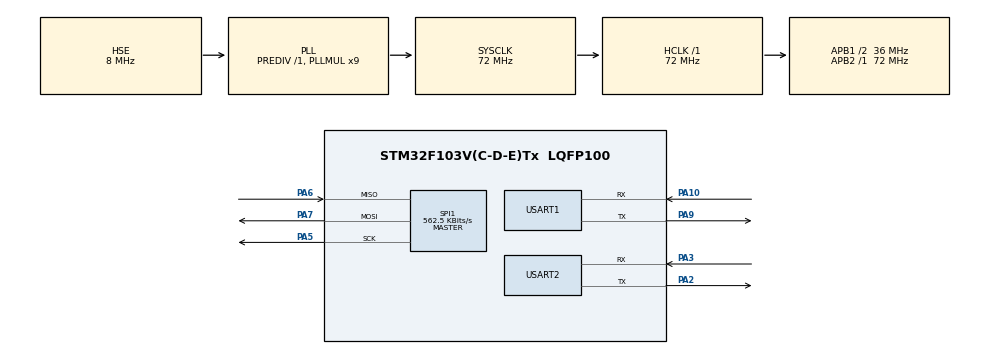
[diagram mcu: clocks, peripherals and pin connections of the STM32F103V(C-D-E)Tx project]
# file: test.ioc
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Mcu.Family=STM32F1
Mcu.Name=STM32F103V(C-D-E)Tx
Mcu.Package=LQFP100
NVIC.PriorityGroup=NVIC_PRIORITYGROUP_4
NVIC.TIM1_UP_IRQn=true\:15\:0\:false\:false\:true\:false\:false\:true\:true
NVIC.TimeBase=TIM1_UP_IRQn
NVIC.TimeBaseIP=TIM1
OSC_IN.Mode=HSE-External-Oscillator
OSC_IN.Signal=RCC_OSC_IN
OSC_OUT.Mode=HSE-External-Oscillator
OSC_OUT.Signal=RCC_OSC_OUT
PA10.Mode=Asynchronous
PA10.Signal=USART1_RX
PA13.Mode=Trace_Asynchronous_SW
PA13.Signal=SYS_JTMS-SWDIO
PA14.Mode=Trace_Asynchronous_SW
PA14.Signal=SYS_JTCK-SWCLK
PA2.Mode=Asynchronous
PA2.Signal=USART2_TX
PA3.Mode=Asynchronous
PA3.Signal=USART2_RX
PA5.Mode=Full_Duplex_Master
PA5.Signal=SPI1_SCK
PA6.Mode=Full_Duplex_Master
PA6.Signal=SPI1_MISO
PA7.Mode=Full_Duplex_Master
PA7.Signal=SPI1_MOSI
PA9.Mode=Asynchronous
PA9.Signal=USART1_TX
PB3.Mode=Trace_Asynchronous_SW
PB3.Signal=SYS_JTDO-TRACESWO
ProjectManager.HeapSize=0x200
ProjectManager.StackSize=0x400
ProjectManager.TargetToolchain=MDK-ARM V5.32
RCC.AHBFreq_Value=72000000
RCC.APB1CLKDivider=RCC_HCLK_DIV2
RCC.APB1Freq_Value=36000000
RCC.APB1TimFreq_Value=72000000
RCC.APB2Freq_Value=72000000
RCC.APB2TimFreq_Value=72000000
RCC.HCLKFreq_Value=72000000
RCC.PLLMUL=RCC_PLL_MUL9
RCC.PLLSourceVirtual=RCC_PLLSOURCE_HSE
RCC.SYSCLKFreq_VALUE=72000000
RCC.SYSCLKSource=RCC_SYSCLKSOURCE_PLLCLK
RCC.USBFreq_Value=72000000
RealThread.RT-Thread.3.1.5.RTOSJjkernel=true
SPI1.BaudRatePrescaler=SPI_BAUDRATEPRESCALER_128
SPI1.CalculateBaudRate=562.5 KBits/s
SPI1.Direction=SPI_DIRECTION_2LINES
SPI1.Mode=SPI_MODE_MASTER
SPI1.VirtualType=VM_MASTER
USART1.VirtualMode=VM_ASYNC
USART2.VirtualMode=VM_ASYNC
VP_RealThread.RT-Thread_VS_RTOSJjkernel_3.1.5_3.1.5.Mode=RTOSJjkernel
VP_SYS_VS_tim1.Mode=TIM1
board=custom

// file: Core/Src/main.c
/* USER CODE BEGIN Header */
/**
  ******************************************************************************
  * @file           : main.c
  * @brief          : Main program body
  ******************************************************************************
  * @attention
  *
  * Copyright (c) 2023 STMicroelectronics.
  * All rights reserved.
  *
  * This software is licensed under terms that can be found in the LICENSE file
  * in the root directory of this software component.
  * If no LICENSE file comes with this software, it is provided AS-IS.
  *
  ******************************************************************************
  */
/* USER CODE END Header */
#include "main.h"
#include "spi.h"
#include "usart.h"
#include "gpio.h"

/* USER CODE BEGIN Includes */
#include "rtthread.h"
#include "cpp_run_main.h"
/* USER CODE END Includes */

void SystemClock_Config(void);

/* USER CODE BEGIN 0 */

#if 0
/* USER CODE END 0 */

int main(void)
{
  /* USER CODE BEGIN 1 */
#endif
int board_init(void);
INIT_BOARD_EXPORT(board_init);
int board_init(void)
{
  /* USER CODE END 1 */

  /* MCU Configuration--------------------------------------------------------*/

  /* Reset of all peripherals, Initializes the Flash interface and the Systick. */
  HAL_Init();

  /* Configure the system clock */
  SystemClock_Config();

  /* Initialize all configured peripherals */
  MX_GPIO_Init();
  MX_USART1_UART_Init();
  MX_USART2_UART_Init();
  MX_SPI1_Init();

  /* Infinite loop */
  /* USER CODE BEGIN WHILE */
  #if 0
  while (1)
  {
    /* USER CODE END WHILE */

    /* USER CODE BEGIN 3 */
  }
  #endif
  return 0;
}

static void one_thread(void* param)
{
  rt_kprintf("%s run\r\n", __FUNCTION__);
  while(1) {
    HAL_Delay(10);
    rt_thread_mdelay(10);
  }
}

static void SoftTimerCb(void* param)
{
  static uint8_t cnt = 0;
  if(cnt < 2) {
    cnt++;
    rt_kprintf("soft timer cb\r\n");
  }
}

typedef struct
{
  int num;
  rt_list_t list;
  char* str;
} test_rt_list_t;

int main()
{
  rt_list_t list_one;
  static test_rt_list_t test = {
    .num = 10,
    .str = "test"
  };
  static test_rt_list_t test2 = {
    .num = 20,
    .str = "test2"
  };
  rt_list_init(&list_one);
  rt_list_insert_after(&list_one, &test.list);
  rt_list_insert_after(&list_one, &test2.list);
  test_rt_list_t* p_test;
  rt_list_for_each_entry(p_test, &list_one, list)
  {
    rt_kprintf("num = %d, str = %s \r\n", p_test->num, p_test->str);
  }

  rt_thread_mdelay(500);
  rt_kprintf("rt main hello!\r\n");

  rt_thread_t thread;
  thread = rt_thread_create("1", one_thread, RT_NULL, 256, 0, 10);
  rt_thread_startup(thread);

  thread = rt_thread_create("Cpp", CppRunMian, RT_NULL, 1024*5, 0, 10);
  rt_thread_startup(thread);

  rt_timer_t timerTest = rt_timer_create("soft timer", SoftTimerCb, RT_NULL, rt_tick_from_millisecond(500), RT_TIMER_FLAG_SOFT_TIMER | RT_TIMER_FLAG_PERIODIC);
  rt_timer_start(timerTest);

//     while(1) {
//         rt_thread_mdelay(1000);
// //        rt_kprintf("test\r\n");
//     }
  /* USER CODE END 3 */
}

void SystemClock_Config(void)
{
  RCC_OscInitTypeDef RCC_OscInitStruct = {0};
  RCC_ClkInitTypeDef RCC_ClkInitStruct = {0};

  /** Initializes the RCC Oscillators according to the specified parameters
  * in the RCC_OscInitTypeDef structure.
  */
  RCC_OscInitStruct.OscillatorType = RCC_OSCILLATORTYPE_HSE;
  RCC_OscInitStruct.HSEState = RCC_HSE_ON;
  RCC_OscInitStruct.HSEPredivValue = RCC_HSE_PREDIV_DIV1;
  RCC_OscInitStruct.HSIState = RCC_HSI_ON;
  RCC_OscInitStruct.PLL.PLLState = RCC_PLL_ON;
  RCC_OscInitStruct.PLL.PLLSource = RCC_PLLSOURCE_HSE;
  RCC_OscInitStruct.PLL.PLLMUL = RCC_PLL_MUL9;
  if (HAL_RCC_OscConfig(&RCC_OscInitStruct) != HAL_OK)
  {
    Error_Handler();
  }

  /** Initializes the CPU, AHB and APB buses clocks
  */
  RCC_ClkInitStruct.ClockType = RCC_CLOCKTYPE_HCLK|RCC_CLOCKTYPE_SYSCLK
                              |RCC_CLOCKTYPE_PCLK1|RCC_CLOCKTYPE_PCLK2;
  RCC_ClkInitStruct.SYSCLKSource = RCC_SYSCLKSOURCE_PLLCLK;
  RCC_ClkInitStruct.AHBCLKDivider = RCC_SYSCLK_DIV1;
  RCC_ClkInitStruct.APB1CLKDivider = RCC_HCLK_DIV2;
  RCC_ClkInitStruct.APB2CLKDivider = RCC_HCLK_DIV1;

  if (HAL_RCC_ClockConfig(&RCC_ClkInitStruct, FLASH_LATENCY_2) != HAL_OK)
  {
    Error_Handler();
  }
}

void HAL_TIM_PeriodElapsedCallback(TIM_HandleTypeDef *htim)
{
  if (htim->Instance == TIM1) {
    HAL_IncTick();
  }
}

void Error_Handler(void)
{
  __disable_irq();
  while (1)
  {
  }
}
